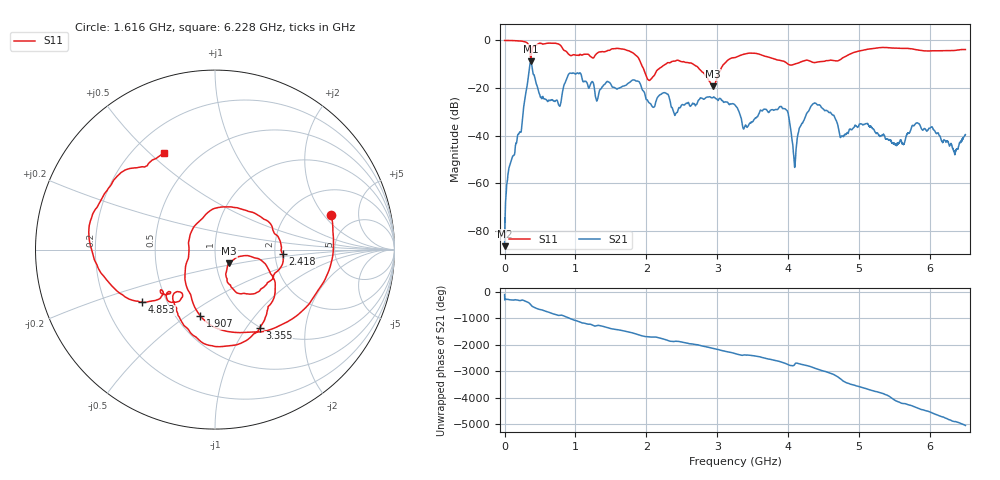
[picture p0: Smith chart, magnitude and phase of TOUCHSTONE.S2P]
!Keysight Technologies,E5063A,MY54503115,A.05.08
!Date: Fri Oct 20 10:24:02 2023
!Data & Calibration Information:
!Freq	S11:NONE(--)	S21:NONE(--)	S12:NONE(--)	S22:NONE(--)
# Hz S dB R 50
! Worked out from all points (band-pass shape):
!   10001 points, 300 kHz to 6.5 GHz, reference 50 ohm
!   highest |S21| = -8.71 dB at 371.4 MHz (marker M1); lowest = -86.4 dB at 300 kHz (marker M2)
!   |S21| within 3 dB of the highest: 349.1 MHz to 390.9 MHz (41.81 MHz wide, 11.3 % of centre)
!   lowest |S11| = -19.2 dB at 2.933 GHz (marker M3), VSWR 1.25, Z = 57.8 - j9 ohm
!   |S11| at or under -10 dB: 1.928 GHz to 2.269 GHz (341.3 MHz wide, 16.3 % of centre); 2.661 GHz to 3.091 GHz (430 MHz wide, 14.9 % of centre); 4 GHz to 4.086 GHz (85.66 MHz wide, 2.12 % of centre)
!   S12 and S22 are empty: the file has one direction only
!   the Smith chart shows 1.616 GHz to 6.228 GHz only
!   S11 on the Smith chart (normalised r, x): 1.616 GHz: 3.35, +2.39; 1.907 GHz: 0.66, -0.57; 2.418 GHz: 2.20, -0.13; 3.355 GHz: 0.98, -1.16; 4.853 GHz: 0.36, -0.28; 6.228 GHz: 0.33, +0.55
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300000  0.00 -0.5  -86.37 -93.0  -200.00 0.0  -200.00 0.0
2.258396e8  -0.20 -73.2  -38.57 38.4  -200.00 0.0  -200.00 0.0
3.714329e8  -7.19 -112.4  -8.71 -127.0  -200.00 0.0  -200.00 0.0
5.833231e8  -1.28 172.6  -24.81 -8.9  -200.00 0.0  -200.00 0.0
7.295663e8  -1.27 96.8  -25.12 -139.3  -200.00 0.0  -200.00 0.0
8.634602e8  -4.47 7.1  -17.04 145.8  -200.00 0.0  -200.00 0.0
1.0838e9  -6.13 -156.3  -14.75 -80.5  -200.00 0.0  -200.00 0.0
1.353538e9  -4.78 96.8  -20.49 161.1  -200.00 0.0  -200.00 0.0
1.616125e9  -3.41 16.7  -19.97 5.1  -200.00 0.0  -200.00 0.0
1.906662e9  -8.43 -102.5  -17.79 166.9  -200.00 0.0  -200.00 0.0
2.1673e9  -12.12 73.9  -23.52 74.7  -200.00 0.0  -200.00 0.0
2.418188e9  -8.46 -3.9  -30.53 -63.6  -200.00 0.0  -200.00 0.0
2.932965e9  -19.17 -44.3  -24.11 29.0  -200.00 0.0  -200.00 0.0
3.25015e9  -7.18 -47.4  -27.17 -168.8  -200.00 0.0  -200.00 0.0
3.354795e9  -5.95 -60.5  -35.70 124.5  -200.00 0.0  -200.00 0.0
3.957967e9  -9.00 -131.4  -28.73 -179.6  -200.00 0.0  -200.00 0.0
4.091861e9  -9.93 -124.5  -53.27 139.4  -200.00 0.0  -200.00 0.0
4.33365e9  -9.01 -138.1  -27.24 39.8  -200.00 0.0  -200.00 0.0
4.852976e9  -5.98 -144.2  -38.22 140.9  -200.00 0.0  -200.00 0.0
5.41715e9  -3.06 161.4  -41.75 24.0  -200.00 0.0  -200.00 0.0
6.228313e9  -4.33 118.0  -42.73 -101.0  -200.00 0.0  -200.00 0.0
6.5e9  -3.82 107.6  -39.54 -12.6  -200.00 0.0  -200.00 0.0
